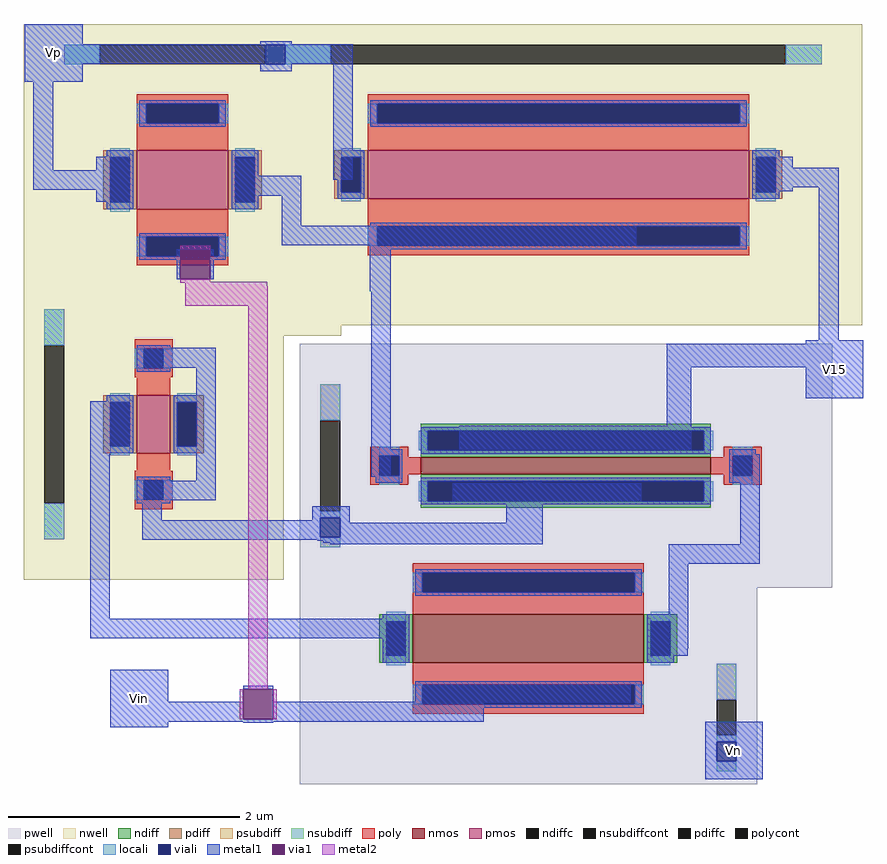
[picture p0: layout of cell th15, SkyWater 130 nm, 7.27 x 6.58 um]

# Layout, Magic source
magic
tech sky130A
magscale 1 2
<< viali >>
rect 901 82 935 116
rect 996 -737 1030 -703
rect 1682 -1125 1716 -1091
<< metal1 >>
rect 484 117 584 152
rect 892 117 946 122
rect 484 116 1052 117
rect 484 83 901 116
rect 484 52 584 83
rect 892 82 901 83
rect 935 83 1052 116
rect 935 82 946 83
rect 892 70 946 82
rect 499 -101 533 52
rect 608 -79 642 -78
rect 608 -101 666 -79
rect 499 -135 666 -101
rect 608 -156 666 -135
rect 632 -157 666 -156
rect 849 -111 883 -81
rect 849 -145 963 -111
rect 1018 -118 1052 83
rect 1780 -79 1814 -78
rect 1750 -97 1814 -79
rect 1750 -131 1893 -97
rect 1750 -138 1814 -131
rect 1750 -139 1784 -138
rect 849 -157 883 -145
rect 929 -197 963 -145
rect 929 -231 1543 -197
rect 747 -290 753 -238
rect 805 -290 811 -238
rect 1081 -311 1118 -231
rect 679 -443 815 -409
rect 597 -535 667 -501
rect 597 -878 631 -535
rect 633 -579 667 -535
rect 781 -639 815 -443
rect 1084 -632 1118 -311
rect 1859 -396 1893 -131
rect 1836 -402 1936 -396
rect 1596 -442 1936 -402
rect 1596 -544 1638 -442
rect 1836 -496 1936 -442
rect 1236 -584 1638 -544
rect 1598 -586 1638 -584
rect 1723 -596 1757 -593
rect 1710 -630 1757 -596
rect 687 -673 815 -639
rect 1346 -643 1380 -642
rect 687 -707 721 -673
rect 1225 -677 1551 -643
rect 983 -684 1047 -683
rect 982 -703 1047 -684
rect 982 -707 996 -703
rect 687 -737 996 -707
rect 1030 -712 1047 -703
rect 1318 -712 1381 -677
rect 1030 -737 1381 -712
rect 687 -741 1381 -737
rect 990 -743 1381 -741
rect 1001 -746 1381 -743
rect 1013 -749 1381 -746
rect 1723 -749 1757 -630
rect 1599 -783 1757 -749
rect 597 -912 1145 -878
rect 1599 -882 1633 -783
rect 1111 -943 1145 -912
rect 1568 -929 1633 -882
rect 1568 -942 1632 -929
rect 632 -1022 732 -966
rect 862 -1000 914 -994
rect 632 -1052 862 -1022
rect 1173 -1022 1533 -989
rect 914 -1023 1533 -1022
rect 914 -1052 1279 -1023
rect 632 -1056 1279 -1052
rect 632 -1066 732 -1056
rect 862 -1058 914 -1056
rect 1662 -1091 1762 -1056
rect 1662 -1125 1682 -1091
rect 1716 -1125 1762 -1091
rect 1662 -1156 1762 -1125
<< via1 >>
rect 753 -290 805 -238
rect 862 -1052 914 -1000
<< metal2 >>
rect 753 -238 805 -232
rect 753 -294 805 -290
rect 753 -296 904 -294
rect 762 -302 904 -296
rect 762 -336 905 -302
rect 871 -1000 905 -336
rect 856 -1052 862 -1000
rect 914 -1052 920 -1000
use sky130_fd_pr__pfet_01v8_LDQF7K  XM0
transform 1 0 707 0 1 -541
box -225 -269 225 269
use sky130_fd_pr__nfet_01v8_HZA4VB  XM1
transform 1 0 1356 0 1 -912
box -396 -252 396 252
use sky130_fd_pr__pfet_01v8_GEY2B5  XM2
transform 1 0 757 0 1 -118
box -275 -270 275 270
use sky130_fd_pr__pfet_01v8_KQKFM4  XM3
transform 1 0 1408 0 1 -109
box -526 -261 526 261
use sky130_fd_pr__nfet_01v8_5NW376  XM4
transform 0 -1 1421 1 0 -613
box -211 -461 211 461
<< labels >>
flabel metal1 1836 -496 1936 -396 0 FreeSans 256 0 0 0 V15
port 1 nsew
flabel metal1 484 52 584 152 0 FreeSans 256 0 0 0 Vp
port 0 nsew
flabel metal1 1662 -1156 1762 -1056 0 FreeSans 256 0 0 0 Vn
port 3 nsew
flabel metal1 632 -1066 732 -966 0 FreeSans 256 0 0 0 Vin
port 2 nsew
<< end >>

# cell sky130_fd_pr__pfet_01v8_LDQF7K: kit device sky130_fd_pr__pfet_01v8, w 0.5 l 0.285 m 1 nf 1 diffcov 100 polycov 100 guard 1 glc 1 grc 1 gtc 1 gbc 1 tbcov 100 rlcov 100 topc 1 botc 1 poverlap 0 doverlap 1 lmin 0.15 wmin 0.42 compatible {sky130_fd_pr__pfet_01v8 sky130_fd_pr__pfet_01v8_lvt sky130_fd_pr__pfet_01v8_hvt sky130_fd_pr__pfet_g5v0d10v5} full_metal 1 viasrc 100 viadrn 100 viagate 100 viagb 0 viagr 0 viagl 0 viagt 0

# cell sky130_fd_pr__nfet_01v8_HZA4VB: kit device sky130_fd_pr__nfet_01v8, w 0.42 l 2.0 m 1 nf 1 diffcov 100 polycov 100 guard 1 glc 1 grc 1 gtc 1 gbc 1 tbcov 100 rlcov 100 topc 1 botc 1 poverlap 0 doverlap 1 lmin 0.15 wmin 0.42 compatible {sky130_fd_pr__nfet_01v8 sky130_fd_pr__nfet_01v8_lvt sky130_fd_bs_flash__special_sonosfet_star sky130_fd_pr__nfet_g5v0d10v5 sky130_fd_pr__nfet_05v0_nvt sky130_fd_pr__nfet_03v3_nvt} full_metal 1 viasrc 100 viadrn 100 viagate 100 viagb 0 viagr 0 viagl 0 viagt 0

# cell sky130_fd_pr__pfet_01v8_GEY2B5: kit device sky130_fd_pr__pfet_01v8, w 0.51 l 0.79 m 1 nf 1 diffcov 100 polycov 100 guard 1 glc 1 grc 1 gtc 1 gbc 1 tbcov 100 rlcov 100 topc 1 botc 1 poverlap 0 doverlap 1 lmin 0.15 wmin 0.42 compatible {sky130_fd_pr__pfet_01v8 sky130_fd_pr__pfet_01v8_lvt sky130_fd_pr__pfet_01v8_hvt sky130_fd_pr__pfet_g5v0d10v5} full_metal 1 viasrc 100 viadrn 100 viagate 100 viagb 0 viagr 0 viagl 0 viagt 0

# cell sky130_fd_pr__pfet_01v8_KQKFM4: kit device sky130_fd_pr__pfet_01v8, w 0.421 l 3.3 m 1 nf 1 diffcov 100 polycov 100 guard 1 glc 1 grc 1 gtc 1 gbc 1 tbcov 100 rlcov 100 topc 1 botc 1 poverlap 0 doverlap 1 lmin 0.15 wmin 0.42 compatible {sky130_fd_pr__pfet_01v8 sky130_fd_pr__pfet_01v8_lvt sky130_fd_pr__pfet_01v8_hvt sky130_fd_pr__pfet_g5v0d10v5} full_metal 1 viasrc 100 viadrn 100 viagate 100 viagb 0 viagr 0 viagl 0 viagt 0

# cell sky130_fd_pr__nfet_01v8_5NW376: kit device sky130_fd_pr__nfet_01v8, w 2.51 l 0.15 m 1 nf 1 diffcov 100 polycov 100 guard 1 glc 1 grc 1 gtc 1 gbc 1 tbcov 100 rlcov 100 topc 1 botc 1 poverlap 0 doverlap 1 lmin 0.15 wmin 0.42 compatible {sky130_fd_pr__nfet_01v8 sky130_fd_pr__nfet_01v8_lvt sky130_fd_bs_flash__special_sonosfet_star sky130_fd_pr__nfet_g5v0d10v5 sky130_fd_pr__nfet_05v0_nvt sky130_fd_pr__nfet_03v3_nvt} full_metal 1 viasrc 100 viadrn 100 viagate 100 viagb 0 viagr 0 viagl 0 viagt 0
